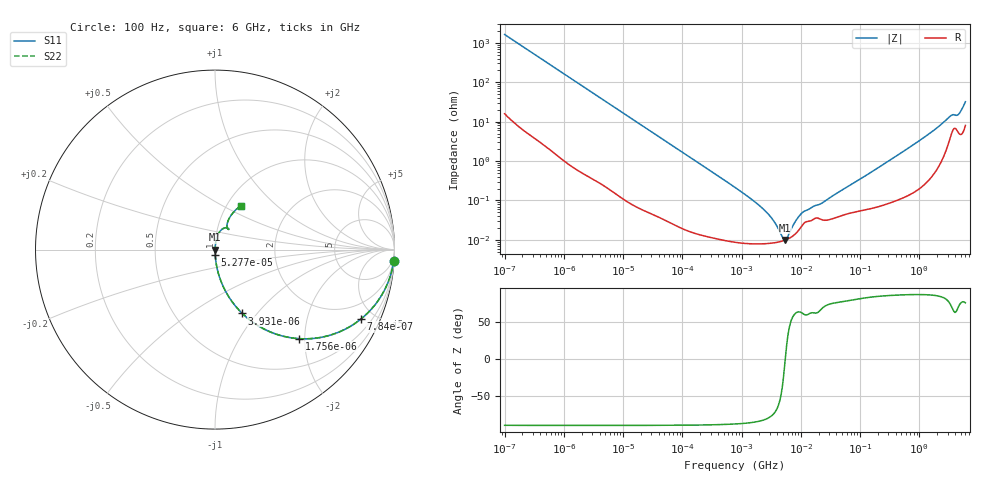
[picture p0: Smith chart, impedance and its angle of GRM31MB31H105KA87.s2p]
!Murata Part Number: GRM31MB31H105KA87
!These Parameters are Measured in Series Mode Connection
!Data Generated on Mar 30, 2021
!  o--ll--o
!Port1  Port2
!  o------o
!Operation Temp=25[degC], DC Bias Voltage=0[V]
!Freq. Start=100[Hz] Stop=6[GHz] 401[Steps]
# Hz S RI R 50
!Freq.(Hz) S11(Real) S11(Imag) S21(Real) S21(Imag) S12(Real) S12(Imag) S22(Real) S22(Imag)
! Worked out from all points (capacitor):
!   401 points, 100 Hz to 6 GHz, reference 50 ohm
!   read as one part in series: C = 974 nF near 109 Hz
!   lowest |Z| = 9.87 mohm at 5.312 MHz (marker M1)
!   series resonance near 5.466 MHz, so ESL is about 870 pH
!   S11 on the Smith chart (normalised r, x): 100 Hz: 1, -33; 784 Hz: 1.03, -4.19; 1.756 kHz: 1.01, -1.88; 3.931 kHz: 1.01, -0.84; 52.77 kHz: 1.00, -0.06; 6 GHz: 1.16, +0.62
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100  0.9957 -0.061  0.00433 0.061  0.00433 0.061  0.9957 -0.061
366  0.951 -0.2123  0.049 0.2123  0.049 0.2123  0.951 -0.2123
784  0.8131 -0.3867  0.1869 0.3867  0.1869 0.3867  0.8131 -0.3867
1756  0.4686 -0.496  0.5314 0.496  0.5314 0.496  0.4686 -0.496
2008  0.4033 -0.4875  0.5967 0.4875  0.5967 0.4875  0.4033 -0.4875
3931  0.152 -0.3557  0.848 0.3557  0.848 0.3557  0.152 -0.3557
11514  0.0213 -0.141  0.9787 0.141  0.9787 0.141  0.0213 -0.141
40335  0.00208 -0.0413  0.9979 0.0413  0.9979 0.0413  0.00208 -0.0413
52766  0.00131 -0.0316  0.9987 0.0316  0.9987 0.0316  0.00131 -0.0316
774597  9.12e-05 -0.00214  0.9999 0.00214  0.9999 0.00214  9.12e-05 -0.00214
2594782  8.03e-05 -0.000508  0.9999 0.000508  0.9999 0.000508  8.03e-05 -0.000508
3549919  8.4e-05 -0.000278  0.9999 0.000278  0.9999 0.000278  8.4e-05 -0.000278
5311619  9.71e-05 -1.79e-05  0.9999 1.79e-05  0.9999 1.79e-05  9.71e-05 -1.79e-05
5809218  0.000102 3.85e-05  0.9999 -3.85e-05  0.9999 -3.85e-05  0.000102 3.85e-05
9506416  0.000186 0.000367  0.9998 -0.000367  0.9998 -0.000367  0.000186 0.000367
1.555665e7  0.000317 0.000598  0.9997 -0.000598  0.9997 -0.000598  0.000317 0.000598
2.327686e7  0.000321 0.000813  0.9997 -0.000813  0.9997 -0.000813  0.000321 0.000813
3.124326e8  0.000956 0.0103  0.999 -0.0103  0.999 -0.0103  0.000956 0.0103
1.369159e9  0.00503 0.0452  0.995 -0.0452  0.995 -0.0452  0.00503 0.0452
3.205649e9  0.0459 0.1177  0.9541 -0.1177  0.9541 -0.1177  0.0459 0.1177
4.586474e9  0.067 0.128  0.933 -0.128  0.933 -0.128  0.067 0.128
6e9  0.1446 0.2454  0.8554 -0.2454  0.8554 -0.2454  0.1446 0.2454
